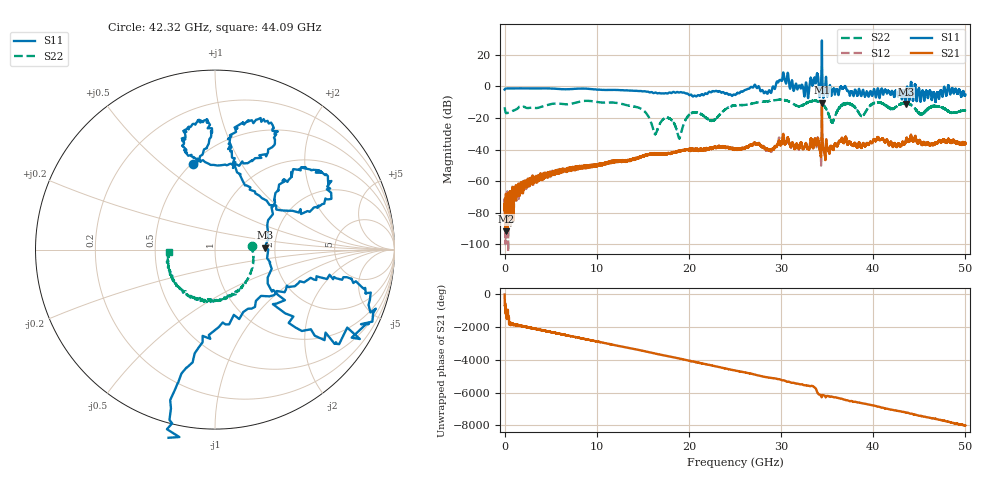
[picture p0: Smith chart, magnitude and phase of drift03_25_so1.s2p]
!Created with skrf (http://scikit-rf.org).
# Hz S RI R 50.0
!freq ReS11 ImS11 ReS21 ImS21 ReS12 ImS12 ReS22 ImS22
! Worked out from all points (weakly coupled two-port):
!   10000 points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, 5.3 MHz to 50 GHz, reference 50 ohm
!   highest |S21| = -10.47 dB at 34.43 GHz (marker M1); lowest = -91.7 dB at 165.3 MHz (marker M2)
!   lowest |S11| = -11.1 dB at 43.52 GHz (marker M3), VSWR 1.77, Z = 88.3 + j1.92 ohm
!   |S11| at or under -10 dB: 43.49547 GHz to 43.5407 GHz (45.24 MHz wide, 0.104 % of centre)
!   |S22| runs from -33.0 to -8.5 dB; largest |S21 - S12| = 0.087
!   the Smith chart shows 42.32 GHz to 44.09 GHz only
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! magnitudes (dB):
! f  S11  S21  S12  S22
! 5.3 MHz  -2.1  -75.4  -74.6  -13.3
! 165.3 MHz  -1.4  -91.7  -86.5  -16.9
! 2.36 GHz  -1.4  -60.2  -60.3  -13.7
! 8.34 GHz  -1.5  -51.0  -51.1  -9.5
! 14.53 GHz  -3.1  -45.3  -45.4  -13.5
! 16.67 GHz  -4.4  -42.6  -42.7  -26.0
! 17.8 GHz  -4.2  -42.7  -42.5  -20.1
! 18.97 GHz  -3.9  -40.8  -41.0  -33.0
! 20.28 GHz  -5.5  -40.2  -40.6  -17.1
! 22.58 GHz  -3.1  -39.4  -39.0  -21.7
! 25.01 GHz  -5.5  -39.8  -40.1  -12.2
! 28.72 GHz  -2.5  -40.7  -40.4  -9.4
! 30.14 GHz  4.4  -33.9  -33.9  -8.5
! 32.74 GHz  2.0  -37.2  -36.8  -10.6
! 33.34 GHz  2.6  -34.7  -35.1  -9.4
! 34.43 GHz  28.9  -10.5  -12.6  -10.9
! 35.54 GHz  -3.1  -39.0  -39.0  -22.9
! 36.97 GHz  0.0  -32.5  -32.8  -11.4
! 38.77 GHz  -5.3  -38.1  -38.1  -18.9
! 41.67 GHz  -3.1  -36.8  -36.8  -13.2
! 43.52 GHz  -11.1  -34.7  -35.0  -10.8
! 50 GHz  -5.3  -36.3  -36.4  -15.5
